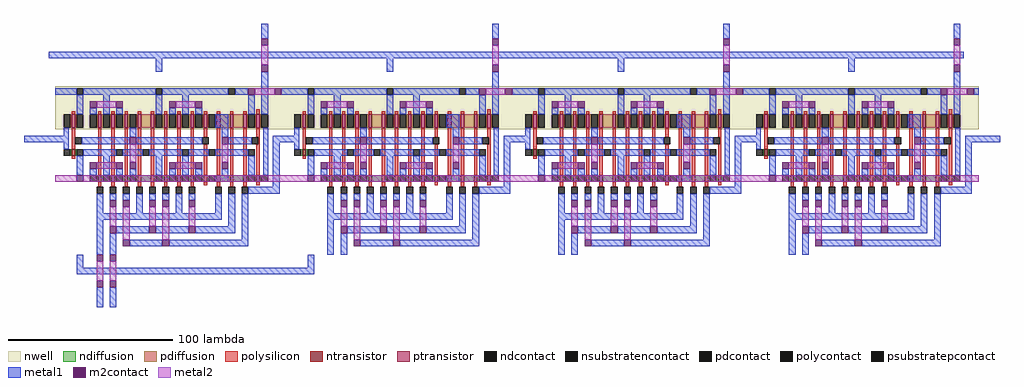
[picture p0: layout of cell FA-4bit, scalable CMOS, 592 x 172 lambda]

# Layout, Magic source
magic
tech scmos
<< metal1 >>
rect -296 162 -292 171
rect -156 162 -152 171
rect -16 162 -12 171
rect 124 162 128 171
rect -425 150 130 154
rect -360 142 -356 150
rect -220 142 -216 150
rect -80 142 -76 150
rect 60 142 64 150
rect -440 99 -421 103
rect 139 99 152 103
rect -408 23 -404 31
rect -268 23 -264 31
rect -408 19 -264 23
rect -396 -1 -392 11
rect -388 -1 -384 11
<< metal2 >>
rect -296 146 -292 158
rect -156 146 -152 158
rect -16 146 -12 158
rect 124 146 128 158
rect -396 15 -392 27
rect -388 15 -384 27
<< m2contact >>
rect -296 158 -292 162
rect -156 158 -152 162
rect -16 158 -12 162
rect 124 158 128 162
rect -296 142 -292 146
rect -156 142 -152 146
rect -16 142 -12 146
rect 124 142 128 146
rect -396 27 -392 31
rect -388 27 -384 31
rect -396 11 -392 15
rect -388 11 -384 15
use FA  FA_3
transform 1 0 -375 0 1 62
box -46 -31 94 80
use FA  FA_2
transform 1 0 -235 0 1 62
box -46 -31 94 80
use FA  FA_1
transform 1 0 -95 0 1 62
box -46 -31 94 80
use FA  FA_0
transform 1 0 45 0 1 62
box -46 -31 94 80
<< end >>

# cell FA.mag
magic
tech scmos
<< nwell >>
rect -46 45 94 71
<< polysilicon >>
rect -36 54 -34 56
rect -20 54 -18 56
rect -12 54 -10 56
rect -4 54 -2 56
rect 4 54 6 56
rect 12 54 14 56
rect 20 54 22 56
rect 28 54 30 56
rect 36 54 38 56
rect 44 54 46 56
rect 52 54 54 56
rect 60 54 62 56
rect 68 54 70 56
rect 76 54 78 57
rect -36 33 -34 46
rect -36 27 -34 29
rect -20 17 -18 46
rect -12 17 -10 46
rect -4 17 -2 46
rect 4 17 6 46
rect 12 17 14 46
rect 20 17 22 46
rect 28 17 30 46
rect 36 17 38 46
rect 44 40 46 46
rect 44 17 46 36
rect 52 17 54 46
rect 60 17 62 46
rect 68 17 70 46
rect 76 40 78 46
rect 77 36 78 40
rect 76 17 78 36
rect -20 10 -18 13
rect -12 10 -10 13
rect -4 10 -2 13
rect 4 10 6 13
rect 12 10 14 13
rect 20 10 22 13
rect 28 10 30 13
rect 36 10 38 13
rect 44 11 46 13
rect 52 10 54 13
rect 60 10 62 13
rect 68 10 70 13
rect 76 11 78 13
<< ndiffusion >>
rect -37 29 -36 33
rect -34 29 -33 33
rect -21 13 -20 17
rect -18 13 -17 17
rect -13 13 -12 17
rect -10 13 -9 17
rect -5 13 -4 17
rect -2 13 -1 17
rect 3 13 4 17
rect 6 13 12 17
rect 14 13 15 17
rect 19 13 20 17
rect 22 13 23 17
rect 27 13 28 17
rect 30 13 31 17
rect 35 13 36 17
rect 38 13 39 17
rect 43 13 44 17
rect 46 13 47 17
rect 51 13 52 17
rect 54 13 60 17
rect 62 13 68 17
rect 70 13 71 17
rect 75 13 76 17
rect 78 13 79 17
<< pdiffusion >>
rect -37 46 -36 54
rect -34 46 -33 54
rect -21 46 -20 54
rect -18 46 -17 54
rect -13 46 -12 54
rect -10 46 -9 54
rect -5 46 -4 54
rect -2 46 -1 54
rect 3 46 4 54
rect 6 46 12 54
rect 14 46 15 54
rect 19 46 20 54
rect 22 46 23 54
rect 27 46 28 54
rect 30 46 31 54
rect 35 46 36 54
rect 38 46 39 54
rect 43 46 44 54
rect 46 46 47 54
rect 51 46 52 54
rect 54 46 60 54
rect 62 46 68 54
rect 70 46 71 54
rect 75 46 76 54
rect 78 46 79 54
<< metal1 >>
rect -46 66 -33 70
rect -29 66 15 70
rect 19 66 59 70
rect 63 66 71 70
rect -33 54 -29 66
rect -25 54 -21 58
rect -17 54 -13 66
rect -9 54 -5 58
rect 15 54 19 66
rect 23 54 27 58
rect 31 54 35 66
rect 39 54 43 58
rect 71 54 75 66
rect 51 46 59 54
rect 79 54 83 80
rect 91 66 94 70
rect -41 41 -38 46
rect -46 37 -38 41
rect -1 40 3 46
rect 55 40 59 46
rect -41 33 -38 37
rect -30 36 -1 40
rect 3 36 43 40
rect 59 36 73 40
rect -29 29 -9 33
rect -5 29 7 33
rect 11 29 31 33
rect 35 29 47 33
rect 51 29 71 33
rect -33 17 -29 29
rect -25 17 -21 21
rect -17 17 -13 29
rect -9 17 -5 21
rect -1 17 3 21
rect 15 17 19 29
rect 23 17 27 21
rect 31 17 35 29
rect 39 17 43 21
rect 55 17 59 21
rect 51 13 59 17
rect 71 17 75 29
rect 80 17 83 46
rect 86 37 94 41
rect 86 10 90 37
rect -21 -6 -17 6
rect -13 2 -9 6
rect -5 2 -1 6
rect 3 -6 7 6
rect 11 2 15 6
rect 19 2 23 6
rect 27 -6 31 6
rect 35 2 39 6
rect 51 -6 55 6
rect -21 -10 55 -6
rect -21 -31 -17 -10
rect 59 -14 63 6
rect -9 -18 11 -14
rect 15 -18 35 -14
rect 39 -18 63 -14
rect 71 6 90 10
rect -13 -31 -9 -18
rect 67 -22 71 6
rect -1 -26 19 -22
rect 23 -26 71 -22
<< metal2 >>
rect 75 66 87 70
rect -21 58 -9 62
rect 27 58 39 62
rect -1 25 3 36
rect 55 25 59 36
rect -21 21 -9 25
rect 27 21 39 25
rect -46 13 -33 17
rect -29 13 94 17
rect -13 -14 -9 -2
rect -5 -22 -1 -2
rect 11 -14 15 -2
rect 19 -22 23 -2
rect 35 -14 39 -2
<< ntransistor >>
rect -36 29 -34 33
rect -20 13 -18 17
rect -12 13 -10 17
rect -4 13 -2 17
rect 4 13 6 17
rect 12 13 14 17
rect 20 13 22 17
rect 28 13 30 17
rect 36 13 38 17
rect 44 13 46 17
rect 52 13 54 17
rect 60 13 62 17
rect 68 13 70 17
rect 76 13 78 17
<< ptransistor >>
rect -36 46 -34 54
rect -20 46 -18 54
rect -12 46 -10 54
rect -4 46 -2 54
rect 4 46 6 54
rect 12 46 14 54
rect 20 46 22 54
rect 28 46 30 54
rect 36 46 38 54
rect 44 46 46 54
rect 52 46 54 54
rect 60 46 62 54
rect 68 46 70 54
rect 76 46 78 54
<< polycontact >>
rect -34 36 -30 40
rect 43 36 47 40
rect 73 36 77 40
rect -21 6 -17 10
rect -13 6 -9 10
rect -5 6 -1 10
rect 3 6 7 10
rect 11 6 15 10
rect 19 6 23 10
rect 27 6 31 10
rect 35 6 39 10
rect 51 6 55 10
rect 59 6 63 10
rect 67 6 71 10
<< ndcontact >>
rect -41 29 -37 33
rect -33 29 -29 33
rect -25 13 -21 17
rect -17 13 -13 17
rect -9 13 -5 17
rect -1 13 3 17
rect 15 13 19 17
rect 23 13 27 17
rect 31 13 35 17
rect 39 13 43 17
rect 47 13 51 17
rect 71 13 75 17
rect 79 13 83 17
<< pdcontact >>
rect -41 46 -37 54
rect -33 46 -29 54
rect -25 46 -21 54
rect -17 46 -13 54
rect -9 46 -5 54
rect -1 46 3 54
rect 15 46 19 54
rect 23 46 27 54
rect 31 46 35 54
rect 39 46 43 54
rect 47 46 51 54
rect 71 46 75 54
rect 79 46 83 54
<< m2contact >>
rect 71 66 75 70
rect -25 58 -21 62
rect -9 58 -5 62
rect 23 58 27 62
rect 39 58 43 62
rect 87 66 91 70
rect -1 36 3 40
rect 55 36 59 40
rect -33 13 -29 17
rect -25 21 -21 25
rect -9 21 -5 25
rect -1 21 3 25
rect 23 21 27 25
rect 39 21 43 25
rect 55 21 59 25
rect -13 -2 -9 2
rect -5 -2 -1 2
rect 11 -2 15 2
rect 19 -2 23 2
rect 35 -2 39 2
rect -13 -18 -9 -14
rect 11 -18 15 -14
rect 35 -18 39 -14
rect -5 -26 -1 -22
rect 19 -26 23 -22
<< psubstratepcontact >>
rect -9 29 -5 33
rect 7 29 11 33
rect 31 29 35 33
rect 47 29 51 33
rect 71 29 75 33
<< nsubstratencontact >>
rect -33 66 -29 70
rect 15 66 19 70
rect 59 66 63 70
<< labels >>
rlabel metal1 -45 39 -45 39 3 Cout
rlabel metal1 81 79 81 79 6 Sum
rlabel metal1 -19 -29 -19 -29 1 A
rlabel metal1 93 39 93 39 7 Cin
rlabel metal1 -11 -29 -11 -29 1 B
rlabel metal2 93 15 93 15 7 Gnd
rlabel metal1 92 68 92 68 7 Vdd
<< end >>
